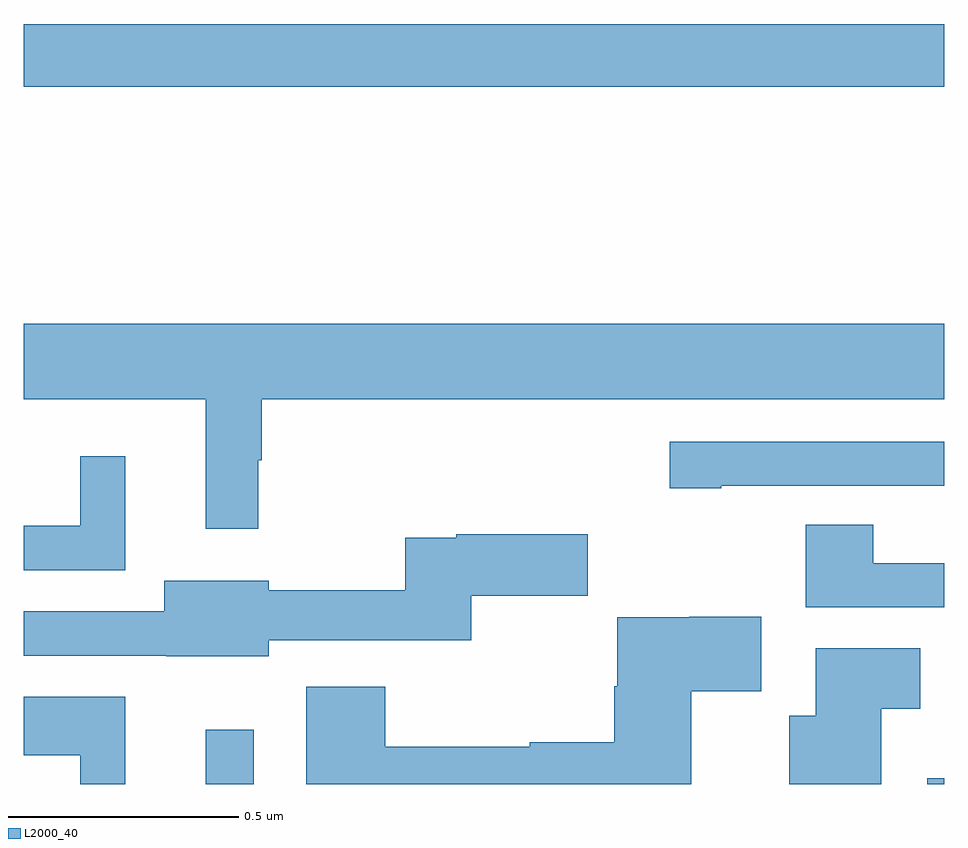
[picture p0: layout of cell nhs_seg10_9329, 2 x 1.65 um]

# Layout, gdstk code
import gdstk
lib = gdstk.Library(unit=1e-6, precision=1e-09)
def R(c, l, rs):  # rectangles x0, y0, x1, y1
    for r in rs: c.add(gdstk.rectangle(r[:2], r[2:], *l))
def P(c, l, *ps):  # polygons
    for p in ps: c.add(gdstk.Polygon(p, *l))
L2000_40 = (2000, 40)

nhs_seg10_9329 = lib.new_cell('nhs_seg10_9329')
R(nhs_seg10_9329, L2000_40, [(228.395,1279.5,228.499,1279.618), (229.964,1279.5,230,1279.513), (228,1281.016,230,1281.152)])
P(nhs_seg10_9329, L2000_40, [(228.509,1280.204),(228.517,1280.204),(228.517,1280.336),(230,1280.336),(230,1280.5),(228,1280.5),(228,1280.336),(228.395,1280.336),(228.395,1280.055),(228.509,1280.055)],
  [(229.516,1280.148),(230,1280.148),(230,1280.244),(229.404,1280.244),(229.404,1280.143),(229.516,1280.143)],
  [(228.22,1280.212),(228.122,1280.212),(228.122,1280.061),(228,1280.061),(228,1279.965),(228.22,1279.965)],
  [(230,1279.98),(229.846,1279.98),(229.846,1280.063),(229.699,1280.063),(229.699,1279.884),(230,1279.884)],
  [(228.532,1279.812),(228.972,1279.812),(228.972,1279.909),(229.225,1279.909),(229.225,1280.043),(228.94,1280.043),(228.94,1280.035),(228.829,1280.035),(228.829,1279.921),(228.532,1279.921),(228.532,1279.942),(228.305,1279.942),(228.305,1279.875),(228,1279.875),(228,1279.779),(228.309,1279.779),(228.309,1279.778),(228.532,1279.778)],
  [(229.45,1279.702),(229.603,1279.702),(229.603,1279.864),(229.446,1279.864),(229.446,1279.862),(229.29,1279.862),(229.29,1279.713),(229.283,1279.713),(229.283,1279.591),(229.099,1279.591),(229.099,1279.581),(228.785,1279.581),(228.785,1279.711),(228.614,1279.711),(228.614,1279.5),(229.45,1279.5)],
  [(229.864,1279.664),(229.948,1279.664),(229.948,1279.795),(229.721,1279.795),(229.721,1279.648),(229.664,1279.648),(229.664,1279.5),(229.864,1279.5)],
  [(228.22,1279.69),(228,1279.69),(228,1279.562),(228.122,1279.562),(228.122,1279.5),(228.22,1279.5)])

lib.write_gds('nhs_seg10_9329.gds')
